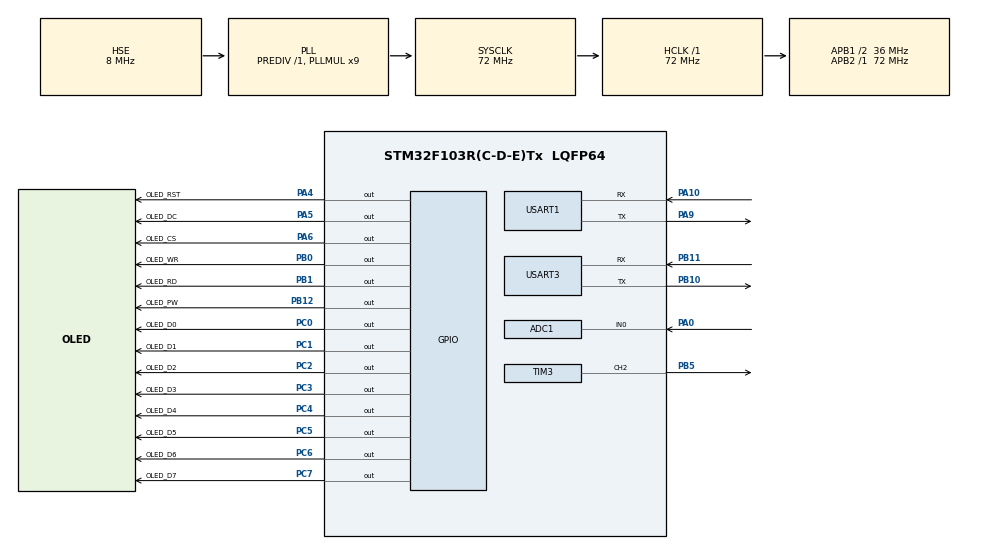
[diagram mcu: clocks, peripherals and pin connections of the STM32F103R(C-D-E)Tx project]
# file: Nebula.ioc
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ADC1.Channel-0\#ChannelRegularConversion=ADC_CHANNEL_0
ADC1.NbrOfConversionFlag=1
ADC1.Rank-0\#ChannelRegularConversion=1
ADC1.SamplingTime-0\#ChannelRegularConversion=ADC_SAMPLETIME_1CYCLE_5
ADC1.master=1
Dma.Request0=USART1_RX
Dma.Request1=USART1_TX
Dma.Request2=USART3_RX
Dma.USART1_RX.0.Direction=DMA_PERIPH_TO_MEMORY
Dma.USART1_RX.0.Instance=DMA1_Channel5
Dma.USART1_RX.0.MemDataAlignment=DMA_MDATAALIGN_BYTE
Dma.USART1_RX.0.MemInc=DMA_MINC_ENABLE
Dma.USART1_RX.0.Mode=DMA_NORMAL
Dma.USART1_RX.0.PeriphDataAlignment=DMA_PDATAALIGN_BYTE
Dma.USART1_RX.0.PeriphInc=DMA_PINC_DISABLE
Dma.USART1_RX.0.Priority=DMA_PRIORITY_HIGH
Dma.USART1_TX.1.Direction=DMA_MEMORY_TO_PERIPH
Dma.USART1_TX.1.Instance=DMA1_Channel4
Dma.USART1_TX.1.MemDataAlignment=DMA_MDATAALIGN_BYTE
Dma.USART1_TX.1.MemInc=DMA_MINC_ENABLE
Dma.USART1_TX.1.Mode=DMA_NORMAL
Dma.USART1_TX.1.PeriphDataAlignment=DMA_PDATAALIGN_BYTE
Dma.USART1_TX.1.PeriphInc=DMA_PINC_DISABLE
Dma.USART1_TX.1.Priority=DMA_PRIORITY_LOW
Dma.USART3_RX.2.Direction=DMA_PERIPH_TO_MEMORY
Dma.USART3_RX.2.Instance=DMA1_Channel3
Dma.USART3_RX.2.MemDataAlignment=DMA_MDATAALIGN_BYTE
Dma.USART3_RX.2.MemInc=DMA_MINC_ENABLE
Dma.USART3_RX.2.Mode=DMA_NORMAL
Dma.USART3_RX.2.PeriphDataAlignment=DMA_PDATAALIGN_BYTE
Dma.USART3_RX.2.PeriphInc=DMA_PINC_DISABLE
Dma.USART3_RX.2.Priority=DMA_PRIORITY_LOW
Mcu.Family=STM32F1
Mcu.Name=STM32F103R(C-D-E)Tx
Mcu.Package=LQFP64
NVIC.DMA1_Channel3_IRQn=true\:0\:0\:false\:false\:true\:false\:true
NVIC.DMA1_Channel4_IRQn=true\:0\:0\:false\:false\:true\:false\:true
NVIC.DMA1_Channel5_IRQn=true\:0\:0\:false\:false\:true\:false\:true
NVIC.PriorityGroup=NVIC_PRIORITYGROUP_4
NVIC.TIM6_IRQn=true\:0\:0\:false\:false\:true\:true\:true
NVIC.TIM7_IRQn=true\:0\:0\:false\:false\:true\:true\:true
NVIC.TIM8_UP_IRQn=true\:0\:0\:false\:false\:true\:true\:true
NVIC.USART1_IRQn=true\:0\:0\:false\:false\:true\:true\:true
PA0-WKUP.Signal=ADCx_IN0
PA10.Mode=Asynchronous
PA10.Signal=USART1_RX
PA13.Mode=Serial_Wire
PA13.Signal=SYS_JTMS-SWDIO
PA14.Mode=Serial_Wire
PA14.Signal=SYS_JTCK-SWCLK
PA4.GPIO_Label=OLED_RST
PA4.GPIO_ModeDefaultOutputPP=GPIO_MODE_OUTPUT_PP
PA4.GPIO_PuPd=GPIO_PULLUP
PA4.GPIO_Speed=GPIO_SPEED_FREQ_HIGH
PA4.PinState=GPIO_PIN_SET
PA4.Signal=GPIO_Output
PA5.GPIO_Label=OLED_DC
PA5.GPIO_ModeDefaultOutputPP=GPIO_MODE_OUTPUT_PP
PA5.GPIO_PuPd=GPIO_PULLUP
PA5.GPIO_Speed=GPIO_SPEED_FREQ_HIGH
PA5.PinState=GPIO_PIN_SET
PA5.Signal=GPIO_Output
PA6.GPIO_Label=OLED_CS
PA6.GPIO_ModeDefaultOutputPP=GPIO_MODE_OUTPUT_PP
PA6.GPIO_PuPd=GPIO_PULLUP
PA6.GPIO_Speed=GPIO_SPEED_FREQ_HIGH
PA6.PinState=GPIO_PIN_SET
PA6.Signal=GPIO_Output
PA9.Mode=Asynchronous
PA9.Signal=USART1_TX
PB0.GPIO_Label=OLED_WR
PB0.GPIO_ModeDefaultOutputPP=GPIO_MODE_OUTPUT_PP
PB0.GPIO_PuPd=GPIO_PULLUP
PB0.GPIO_Speed=GPIO_SPEED_FREQ_MEDIUM
PB0.PinState=GPIO_PIN_SET
PB0.Signal=GPIO_Output
PB1.GPIO_Label=OLED_RD
PB1.GPIO_ModeDefaultOutputPP=GPIO_MODE_OUTPUT_PP
PB1.GPIO_PuPd=GPIO_PULLUP
PB1.GPIO_Speed=GPIO_SPEED_FREQ_MEDIUM
PB1.PinState=GPIO_PIN_SET
PB1.Signal=GPIO_Output
PB10.Mode=Asynchronous
PB10.Signal=USART3_TX
PB11.Mode=Asynchronous
PB11.Signal=USART3_RX
PB12.GPIO_Label=OLED_PW
PB12.GPIO_PuPd=GPIO_PULLUP
PB12.GPIO_Speed=GPIO_SPEED_FREQ_LOW
PB12.PinState=GPIO_PIN_SET
PB12.Signal=GPIO_Output
PB5.GPIO_Speed=GPIO_SPEED_FREQ_HIGH
PB5.Signal=S_TIM3_CH2
PC0.GPIO_Label=OLED_D0
PC0.GPIO_ModeDefaultOutputPP=GPIO_MODE_OUTPUT_PP
PC0.GPIO_PuPd=GPIO_PULLUP
PC0.GPIO_Speed=GPIO_SPEED_FREQ_HIGH
PC0.PinState=GPIO_PIN_SET
PC0.Signal=GPIO_Output
PC1.GPIO_Label=OLED_D1
PC1.GPIO_ModeDefaultOutputPP=GPIO_MODE_OUTPUT_PP
PC1.GPIO_PuPd=GPIO_PULLUP
PC1.GPIO_Speed=GPIO_SPEED_FREQ_HIGH
PC1.PinState=GPIO_PIN_SET
PC1.Signal=GPIO_Output
PC2.GPIO_Label=OLED_D2
PC2.GPIO_ModeDefaultOutputPP=GPIO_MODE_OUTPUT_PP
PC2.GPIO_PuPd=GPIO_PULLUP
PC2.GPIO_Speed=GPIO_SPEED_FREQ_HIGH
PC2.PinState=GPIO_PIN_SET
PC2.Signal=GPIO_Output
PC3.GPIO_Label=OLED_D3
PC3.GPIO_ModeDefaultOutputPP=GPIO_MODE_OUTPUT_PP
PC3.GPIO_PuPd=GPIO_PULLUP
PC3.GPIO_Speed=GPIO_SPEED_FREQ_HIGH
PC3.PinState=GPIO_PIN_SET
PC3.Signal=GPIO_Output
PC4.GPIO_Label=OLED_D4
PC4.GPIO_PuPd=GPIO_PULLUP
PC4.GPIO_Speed=GPIO_SPEED_FREQ_HIGH
PC4.PinState=GPIO_PIN_SET
PC4.Signal=GPIO_Output
PC5.GPIO_Label=OLED_D5
PC5.GPIO_ModeDefaultOutputPP=GPIO_MODE_OUTPUT_PP
PC5.GPIO_PuPd=GPIO_PULLUP
PC5.GPIO_Speed=GPIO_SPEED_FREQ_HIGH
PC5.PinState=GPIO_PIN_SET
PC5.Signal=GPIO_Output
PC6.GPIO_Label=OLED_D6
PC6.GPIO_ModeDefaultOutputPP=GPIO_MODE_OUTPUT_PP
PC6.GPIO_PuPd=GPIO_PULLUP
PC6.GPIO_Speed=GPIO_SPEED_FREQ_HIGH
PC6.PinState=GPIO_PIN_SET
PC6.Signal=GPIO_Output
PC7.GPIO_Label=OLED_D7
PC7.GPIO_ModeDefaultOutputPP=GPIO_MODE_OUTPUT_PP
PC7.GPIO_PuPd=GPIO_PULLUP
PC7.GPIO_Speed=GPIO_SPEED_FREQ_HIGH
PC7.PinState=GPIO_PIN_SET
PC7.Signal=GPIO_Output
PD0-OSC_IN.Mode=HSE-External-Oscillator
PD0-OSC_IN.Signal=RCC_OSC_IN
PD1-OSC_OUT.Mode=HSE-External-Oscillator
PD1-OSC_OUT.Signal=RCC_OSC_OUT
ProjectManager.HeapSize=0x200
ProjectManager.StackSize=0x400
ProjectManager.TargetToolchain=MDK-ARM V5
RCC.ADCPresc=RCC_ADCPCLK2_DIV6
RCC.AHBFreq_Value=72000000
RCC.APB1CLKDivider=RCC_HCLK_DIV2
RCC.APB1Freq_Value=36000000
RCC.APB1TimFreq_Value=72000000
RCC.APB2Freq_Value=72000000
RCC.APB2TimFreq_Value=72000000
RCC.HCLKFreq_Value=72000000
RCC.PLLMUL=RCC_PLL_MUL9
RCC.PLLSourceVirtual=RCC_PLLSOURCE_HSE
RCC.SYSCLKFreq_VALUE=72000000
RCC.SYSCLKSource=RCC_SYSCLKSOURCE_PLLCLK
RCC.USBFreq_Value=72000000
SH.ADCx_IN0.0=ADC1_IN0,IN0
SH.S_TIM3_CH2.0=TIM3_CH2,PWM Generation2 CH2
TIM3.AutoReloadPreload=TIM_AUTORELOAD_PRELOAD_ENABLE
TIM3.Channel-PWM\ Generation2\ CH2=TIM_CHANNEL_2
TIM3.Period=4082-1
TIM3.Prescaler=36-1
TIM3.Pulse-PWM\ Generation2\ CH2=0
TIM6.Period=999
TIM6.Prescaler=7199
TIM7.AutoReloadPreload=TIM_AUTORELOAD_PRELOAD_ENABLE
TIM7.Period=4999
TIM7.Prescaler=7199
TIM8.AutoReloadPreload=TIM_AUTORELOAD_PRELOAD_ENABLE
TIM8.Period=199
TIM8.Prescaler=7199
USART1.VirtualMode=VM_ASYNC
USART3.VirtualMode=VM_ASYNC
VP_TIM3_VS_ClockSourceINT.Mode=Internal
VP_TIM6_VS_ClockSourceINT.Mode=Enable_Timer
VP_TIM7_VS_ClockSourceINT.Mode=Enable_Timer
VP_TIM8_VS_ClockSourceINT.Mode=Internal
board=custom

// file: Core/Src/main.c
/* USER CODE BEGIN Header */
/**
  ******************************************************************************
  * @file           : main.c
  * @brief          : Main program body
  ******************************************************************************
  * @attention
  *
  * <h2><center>&copy; Copyright (c) 2019 STMicroelectronics.
  * All rights reserved.</center></h2>
  *
  * This software component is licensed by ST under BSD 3-Clause license,
  * the "License"; You may not use this file except in compliance with the
  * License. You may obtain a copy of the License at:
  *                        opensource.org/licenses/BSD-3-Clause
  *
  ******************************************************************************
  */
/* USER CODE END Header */

#include "main.h"
#include "adc.h"
#include "dma.h"
#include "tim.h"
#include "usart.h"
#include "gpio.h"

/* USER CODE BEGIN Includes */
#include "OLED_Animation.h"
#include "OLED_Driver.h"
#include "OLED_GFX.h"
#include "OLED_FFT.h"
#include "sys.h"
#include "sk6812.h"
#include "motion.h"
#include "stmflash.h"
#include "string.h"
#include "math.h"
#include "stdio.h"
/* USER CODE END Includes */

/* USER CODE BEGIN PTD */

uint8_t Flag_Refrash = False;
uint8_t Flag_Blink = False;
uint8_t Flag_Sleep = False;
uint8_t Flag_Continue = False;
uint8_t Flag_Reception = True;
uint8_t OfflineCount = 6;
uint8_t SystemActive = True;
u8 datatemp[256] = {};
u16 RandomX=30,RandomY=30;

#define Radius 60
#define RadiusC 56
#define RadiusB 53
#define HourRadius 30
#define MinRadius 40
#define SecRadius 50
u16 ColorPointer[3];
/* USER CODE END PTD */

/* USER CODE BEGIN PD */

#define SLEEPTIME    20*60

OLED_GFX oled = OLED_GFX();
OLED_FFT fft = OLED_FFT();
OLED_Animation motion = OLED_Animation();
/* USER CODE END PD */

void SystemClock_Config(void);

/* USER CODE BEGIN 0 */

u16 Display_Mode = MODE_OFFLINE;
u16 Current_Mode = MODE_OFFLINE;
u16 Sleep_Mode;

#define BOOTBMP Logo_asus

int Count=0;
int FPS=0;

u8 Dataleng;
char DataDis[20];
char DataDisf[3];

u8 DataDisType=0;
u8 UnitDisType=0;
u8 HWDisType=0;
u8 Show_Float=False;

void CopyString(char *ch1,char *ch2)
{
	int i;
	for(i=0;i<cont_str(ch2);i++)
		ch1[i]=ch2[i];
}

void NORMAL_Mode_In(void)
{
	SetCurrent(POSNBAR,148) ;
	SetCurrent(POSNBAT,170) ;
	SetTarget(POSNRCT,25);
	SetTarget(POSNTOP,0);
	SetTarget(POSNBAR,103);
	SetTarget(POSNBAT,115);
	SetTarget(DAMPTYP,0);
}

void NORMAL_Mode_Out(void)
{
	SetTarget(POSNRCT,-73) ;
	SetTarget(POSNTOP,60) ;
	SetTarget(POSNBAR,148) ;
	SetTarget(POSNBAT,170) ;
	SetTarget(DAMPTYP,0);
	DampCustormPos(POSNBAT,0.1);
}

void TIME_Mode_In(void)
{
	SetCurrent(RDRadius, Radius*2);
	SetCurrent(RDRadiusC, RadiusC*2);
	SetCurrent(RDRadiusB, RadiusB*2);
	SetTarget(RDRadius, Radius);
	SetTarget(RDRadiusC, RadiusC);
	SetTarget(RDRadiusB, RadiusB);
	SetTarget(RDHourRadius, HourRadius);
	SetTarget(RDMinRadius, MinRadius);
	SetTarget(RDSecRadius, SecRadius);
	SetTarget(RDRuleDelaut, 0);
	if(Device_Msg.uarthour%12<6)
	{
		SetTarget(PNTTIME,22);
	}
	else
	{
		SetTarget(PNTTIME,22+60);
		if(pit[PNTTIME].target!=22+60)
			SetCurrent(PNTTIME,128+50);
	}
}

void TIME_Mode_Out(void)
{
	SetTarget(RDRadius, Radius*2);
	SetTarget(RDRadiusC, RadiusC*2);
	SetTarget(RDRadiusB, RadiusB*2);
	SetTarget(RDRuleDelaut, 180);
	if(Display_Mode != MODE_GAME)
	{
		SetTarget(RDHourRadius, 0);
		SetTarget(RDMinRadius, 0);
		SetTarget(RDSecRadius, 0);
		SetTarget(PNTHOUR,-90);
		SetTarget(PNTMIN,-90);
		SetTarget(PNTSEC,-90);
		if(pit[PNTTIME].current<60)
		{
			SetTarget(PNTTIME,-50);
		}
		else
		{
			SetTarget(PNTTIME,128+50);
		}
	}
	DampCustormPos(RDRadius,0.1);
}

void TIMESQ_Mode_In(void)
{
	SetCurrent(RDRadiusA, Radius);
	SetTarget(RDRadiusA, Radius/2);
	SetTarget(RDHourRadius, HourRadius);
	SetTarget(RDMinRadius, MinRadius);
	SetTarget(RDSecRadius, SecRadius);
	if(Device_Msg.uarthour%12<6)
	{
		SetTarget(PNTTIME,22);
	}
	else
	{
		SetTarget(PNTTIME,22+60);
		if(pit[PNTTIME].target!=22+60)
			SetCurrent(PNTTIME,128+50);
	}
}

void TIMESQ_Mode_Out(void)
{
	SetTarget(RDRadiusA, Radius);
	if(Display_Mode != MODE_DATE)
	{
		SetTarget(RDHourRadius, 0);
		SetTarget(RDMinRadius, 0);
		SetTarget(RDSecRadius, 0);
		SetTarget(PNTHOUR,-90);
		SetTarget(PNTMIN,-90);
		SetTarget(PNTSEC,-90);
		if(pit[PNTTIME].current<60)
		{
			SetTarget(PNTTIME,-50);
		}
		else
		{
			SetTarget(PNTTIME,128+50);
		}
	}
	DampCustormPos(RDRadiusA,0.1);
}

void MUSIC_Mode_In(void)
{
	int i;
	for(i=0;i<sizeof(fall_pot);i++)
	{
		fall_pot[i] = 128;
		flow_pot[i] = 128;
	}
	ClearFFT();
}

void MUSIC_Mode_Out(void)
{
//	int i;
//	for(i=0;i<sizeof(fall_pot);i++)
//	{
//		fall_pot[i] = 128;
//		flow_pot[i] = 128;
//	}
	ClearFFT();
}

void NORMAL_Mode_Run(void)
{
	switch(DataDisType)
	{
		case 3:
			if(Device_Msg.cpufan>0)
			{

				SetCurrent(POSNRCD,0+8) ;
				SetTarget(POSNRCD,0+8);
				SetTarget(CRTVANE,Device_Msg.cpufan);
				HWDisType = CU_CPU;
				Show_Float = False;
				sprintf(DataDis,"%04d",(u16)pit[CRTVANE].target);
				UnitDisType=UT_RPM;
				pit[CRTVADS].target = pit[CRTVANE].target/50/80*118;

			}
			else
			{
				DataDisType++;return;
//				sprintf(DataDis,"----");
//				UnitDisType=UT_RPM;
//				pit[CRTVANE].target = 0;
			}
			break;
		case 0:
			if(Device_Msg.cputemp>0)
			{
				SetTarget(POSNRCD,11+8)  ;
				pit[CRTVANE].target = Device_Msg.cputemp/10;
				HWDisType = CU_CPU;
				Show_Float = True;
				sprintf(DataDis,"%02d",(u16)pit[CRTVANE].target);
				sprintf(DataDisf,"%01d",Device_Msg.cputemp%10);
				UnitDisType=UT_DEG;

				if(pit[CRTVANE].target<=80)
					pit[CRTVADS].target = pit[CRTVANE].target/80*118;
				else
					pit[CRTVADS].target = 117;

			}
			else
			{
				DataDisType++;return;
			}
			break;
		case 1:
			if(Device_Msg.cpuclock>0)
			{
				SetCurrent(POSNRCD,0+8) ;
				SetTarget(POSNRCD,0+8)  ;
				pit[CRTVANE].target = Device_Msg.cpuclock;
				HWDisType = CU_CPU;
				Show_Float = False;
				sprintf(DataDis,"%04d",(u16)pit[CRTVANE].target);
				UnitDisType=UT_MHZ;
				pit[CRTVADS].target = pit[CRTVANE].target/50/80*118;

			}
			else
			{
				DataDisType++;return;
//				sprintf(DataDis,"----");
//				UnitDisType=UT_MHZ;
//				pit[CRTVANE].target = 0;
			}
			break;
		case 2:
			SetTarget(POSNRCD,11+8)  ;
			pit[CRTVANE].target = Device_Msg.cpuload/10;
			HWDisType = CU_CPU;
			Show_Float = True;
//			if(Device_Msg.cpuload>0)
			{
				sprintf(DataDis,"%02d",(u16)pit[CRTVANE].target);
				sprintf(DataDisf,"%01d",Device_Msg.cpuload%10);
				UnitDisType=UT_PREC;
				if(pit[CRTVANE].target<=80)
					pit[CRTVADS].target = pit[CRTVANE].target/80*118;
				else
					pit[CRTVADS].target = 117;

			}break;
		case 7:
			if(Device_Msg.gpufan>0)
			{
				SetCurrent(POSNRCD,0+8) ;
				SetTarget(POSNRCD,0+8) ;
				pit[CRTVANE].target = Device_Msg.gpufan;
				HWDisType = CU_GPU;
				Show_Float = False;
				sprintf(DataDis,"%04d",(u16)pit[CRTVANE].target);
				UnitDisType=UT_RPM;
				pit[CRTVADS].target = pit[CRTVANE].target/50/80*118;

			}
			else
			{
				DataDisType++;return;
//				sprintf(DataDis,"----");
//				UnitDisType=UT_RPM;
//				pit[CRTVANE].target = 0;
			}
			break;
		case 4:
			if(Device_Msg.gputemp>0)
			{
				SetTarget(POSNRCD,11+8) ;
				pit[CRTVANE].target = Device_Msg.gputemp/10;
				HWDisType = CU_GPU;
				Show_Float = True;
				sprintf(DataDis,"%02d",(u16)pit[CRTVANE].target);
				sprintf(DataDisf,"%01d",Device_Msg.gputemp%10);
				UnitDisType=UT_DEG;
				pit[CRTVADS].target = pit[CRTVANE].target/80*118;

			}
			else
			{
				DataDisType++;return;
			}
			break;
		case 5:
			if(Device_Msg.gpuclock>0)
			{
				SetCurrent(POSNRCD,0+8) ;
				SetTarget(POSNRCD,0+8) ;
				pit[CRTVANE].target = Device_Msg.gpuclock;
				HWDisType = CU_GPU;
				Show_Float = False;
				sprintf(DataDis,"%04d",(u16)pit[CRTVANE].target);
				UnitDisType=UT_MHZ;
				pit[CRTVADS].target = pit[CRTVANE].target/50/80*118;

			}
			else
			{
				DataDisType++;return;
//				sprintf(DataDis,"----");
//				UnitDisType=UT_MHZ;
//				pit[CRTVANE].target = 0;
			}
			break;
		case 6:
			SetTarget(POSNRCD,11+8);
			pit[CRTVANE].target = Device_Msg.gpuload/10;
			HWDisType = CU_GPU;
			Show_Float = True;
//			if(Device_Msg.gpuload>0)
			{
				sprintf(DataDis,"%02d",(u16)pit[CRTVANE].target);
				sprintf(DataDisf,"%01d",Device_Msg.gpuload%10);
				UnitDisType=UT_PREC;
				if(pit[CRTVANE].target<=80)
					pit[CRTVADS].target = pit[CRTVANE].target/80*118;
				else
					pit[CRTVADS].target = 117;

			}break;
		case 8:
			SetTarget(POSNRCD,11+8);
			pit[CRTVANE].target = Device_Msg.ramload/10;
			HWDisType = CU_RAM;
			Show_Float = True;
//			if(Device_Msg.gpuload>0)
			{
				sprintf(DataDis,"%02d",(u16)pit[CRTVANE].target);
				sprintf(DataDisf,"%01d",Device_Msg.ramload%10);
				UnitDisType=UT_PREC;
				if(pit[CRTVANE].target<=80)
					pit[CRTVADS].target = pit[CRTVANE].target/80*118;
				else
					pit[CRTVADS].target = 117;

			}break;
	}
}

void TIME_Mode_Run()
{
	pit[PNTHOUR].target = (Device_Msg.uarthour%12-3)*30+Device_Msg.uartminute/2;
	pit[PNTMIN].target = (Device_Msg.uartminute-15)*6+Device_Msg.uartsecond/2/5;
	pit[PNTSEC].target = (Device_Msg.uartsecond-15)*6;
	if(pit[PNTHOUR].target == -90)
		pit[PNTHOUR].target = 270;
	else if(pit[PNTHOUR].current == 270)
		pit[PNTHOUR].current = -90;
	if(pit[PNTMIN].target == -90)
		pit[PNTMIN].target = 270;
	else if(pit[PNTMIN].current == 270)
		pit[PNTMIN].current = -90;
	if(pit[PNTSEC].target == -90)
		pit[PNTSEC].target = 270;
	else if(pit[PNTSEC].current == 270)
	{
		pit[RDHourColor].target = oled.WheelPw(rand()%96);
		pit[RDMinColor].target = oled.WheelPw(rand()%96);
		pit[RDSecColor].target = oled.WheelP(rand()%96);

		pit[PNTSEC].current = -90;
	}

//	pit[PNTTIME].target = 52+(pit[RDHourRadius].current*cos((pit[PNTSEC].current+180)*PI/180));
//	pit[PNTTIMEY].target = 60+(pit[RDHourRadius].current*sin((pit[PNTSEC].current+180)*PI/180));
	if(Device_Msg.uarthour%12<6)
	{
		SetTarget(PNTTIME,22);
	}
	else
	{
		SetTarget(PNTTIME,22+60);
	}
}

void Mode_In(void)
{
	switch(Current_Mode)
	{
		case MODE_DATE:TIME_Mode_In();break;
		case MODE_NORMAL:NORMAL_Mode_In();break;
		case MODE_GAME:TIMESQ_Mode_In();break;
		case MODE_MUSIC:MUSIC_Mode_In();break;
	}
}

void Mode_Out(void)
{
	switch(Current_Mode)
	{
		case MODE_DATE:TIME_Mode_Out();break;
		case MODE_NORMAL:NORMAL_Mode_Out();break;
		case MODE_GAME:TIMESQ_Mode_Out();break;
		case MODE_MUSIC:MUSIC_Mode_Out();break;
	}
}

static u16 PulseRun = 4060 ,dir = True;
void TIMESQ_Mode();
/* USER CODE END 0 */

int main(void)
{

  /* MCU Configuration--------------------------------------------------------*/

  /* Reset of all peripherals, Initializes the Flash interface and the Systick. */
  HAL_Init();

  /* Configure the system clock */
  SystemClock_Config();

  /* Initialize all configured peripherals */
  MX_GPIO_Init();
  MX_DMA_Init();
  MX_USART1_UART_Init();
  MX_USART3_UART_Init();
  MX_TIM6_Init();
  MX_TIM7_Init();
  MX_TIM8_Init();
  MX_ADC1_Init();
  MX_TIM3_Init();
  /* USER CODE BEGIN 2 */
	__HAL_UART_ENABLE_IT(&huart1, UART_IT_IDLE);
  HAL_UART_Receive_DMA(&huart1,Uart_Recv1_Buf,Uart_Max_Length);
	HAL_TIM_Base_Start_IT(&htim6);
	HAL_TIM_Base_Start_IT(&htim7);
	HAL_TIM_Base_Start_IT(&htim8);
	HAL_TIM_PWM_Start(&htim3, TIM_CHANNEL_2);
  oled.Device_Init();
	SK6812_Init();
	InitData();
	motion.OLED_AllMotion_Init();
	Recvcmd();
//	if(Display_Mode!=MODE_OFFLINE)
	{
		UsartCommand(0xA001,3);//获取命令
		UsartCommand(0xA002,3);//获取设备名
		UsartCommand(0xA003,3);//获取硬盘信息
	}
//	HAL_GPIO_TogglePin(GPIOB, SYS_LED_Pin);
//	HAL_Delay(100);
//	HAL_GPIO_TogglePin(GPIOB, SYS_LED_Pin);
//	HAL_Delay(100);
//	HAL_GPIO_TogglePin(GPIOB, SYS_LED_Pin);
//	HAL_Delay(500);
//
	if(Display_Mode!=MODE_OFFLINE)
	{
		UsartPrint("Nubla is online\n");
		UsartCommand(0xA001,3);//获取命令
		OFFLINE_Mode();
	}
	else
	{
		printf("Nubla is online\r\n");
	}
	SetTarget(RDHourColor, oled.WheelPw(rand()%96));
	SetTarget(RDMinColor, oled.WheelPw(rand()%96));
	SetTarget(RDSecColor, oled.WheelP(rand()%96));

//
//	Display_Mode = MODE_DATE;
//	Current_Mode = MODE_DATE;
  /* USER CODE END 2 */

  /* Infinite loop */
  while (1)
  {

    /* USER CODE BEGIN 3 */
		switch(Current_Mode)
		{
			case MODE_DEFALUT:NORMAL_Mode();break;
			case MODE_DATE:TIME_Mode();break;
			case MODE_NORMAL:NORMAL_Mode();break;
			case MODE_GAME:OFFLINE_Mode();break;
			case MODE_OFFLINE:OFFLINE_Mode();break;
//			case MODE_OFFLINE:SLEEP_Mode();break;
			case MODE_MUSIC:MUSIC_Mode();break;
			default:Current_Mode = Display_Mode;break;
		}

  }
  /* USER CODE END 3 */
}

void SystemClock_Config(void)
{
  RCC_OscInitTypeDef RCC_OscInitStruct = {0};
  RCC_ClkInitTypeDef RCC_ClkInitStruct = {0};
  RCC_PeriphCLKInitTypeDef PeriphClkInit = {0};

  /** Initializes the CPU, AHB and APB busses clocks
  */
  RCC_OscInitStruct.OscillatorType = RCC_OSCILLATORTYPE_HSE;
  RCC_OscInitStruct.HSEState = RCC_HSE_ON;
  RCC_OscInitStruct.HSEPredivValue = RCC_HSE_PREDIV_DIV1;
  RCC_OscInitStruct.HSIState = RCC_HSI_ON;
  RCC_OscInitStruct.PLL.PLLState = RCC_PLL_ON;
  RCC_OscInitStruct.PLL.PLLSource = RCC_PLLSOURCE_HSE;
  RCC_OscInitStruct.PLL.PLLMUL = RCC_PLL_MUL9;
  if (HAL_RCC_OscConfig(&RCC_OscInitStruct) != HAL_OK)
  {
    Error_Handler();
  }
  /** Initializes the CPU, AHB and APB busses clocks
  */
  RCC_ClkInitStruct.ClockType = RCC_CLOCKTYPE_HCLK|RCC_CLOCKTYPE_SYSCLK
                              |RCC_CLOCKTYPE_PCLK1|RCC_CLOCKTYPE_PCLK2;
  RCC_ClkInitStruct.SYSCLKSource = RCC_SYSCLKSOURCE_PLLCLK;
  RCC_ClkInitStruct.AHBCLKDivider = RCC_SYSCLK_DIV1;
  RCC_ClkInitStruct.APB1CLKDivider = RCC_HCLK_DIV2;
  RCC_ClkInitStruct.APB2CLKDivider = RCC_HCLK_DIV1;

  if (HAL_RCC_ClockConfig(&RCC_ClkInitStruct, FLASH_LATENCY_2) != HAL_OK)
  {
    Error_Handler();
  }
  PeriphClkInit.PeriphClockSelection = RCC_PERIPHCLK_ADC;
  PeriphClkInit.AdcClockSelection = RCC_ADCPCLK2_DIV6;
  if (HAL_RCCEx_PeriphCLKConfig(&PeriphClkInit) != HAL_OK)
  {
    Error_Handler();
  }
}

/* USER CODE BEGIN 4 */

void OFFLINEUI_Init(void)
{
	switch(Device_Cmd.commandlogotheme)
	{
		case 0:oled.Display_FadeinAll(Logo_asus);break;
		case 1:oled.Display_FadeinAll(Logo_msi);break;
		case 2:oled.Display_FadeinAll(Logo_amd);break;
		case 3:oled.Display_FadeinAll(Logo_radeon);break;
		case 4:oled.Display_FadeinAll(Logo_nvidia);break;
		case 5:oled.Display_FadeinAll(Logo_custorm);break;
		default:oled.Display_FadeinAll(Logo_msi);break;
	}
}

void OFFLINEUI_Out(void)
{
	oled.Display_FadeoutAll();
}

void OFFLINE_Mode(void)
{
	OFFLINEUI_Init();
	if(!(Device_Cmd.commandset&0x8)&&OfflineCount>6)
	{
		oled.Clear_Screen();
	}
	while(Display_Mode == MODE_OFFLINE||Display_Mode == MODE_DEFALUT)
	{
		if(Flag_Refrash)
		{
			Flag_Refrash = False;
			if(Flag_Sleep)
			{
				Flag_Sleep = False;
				SLEEP_Mode();
			}
			if(Device_Cmd.commandset&0x8)
				switch(Device_Cmd.commandlogotheme)
				{
					case 0:oled.Display_bmp(Logo_asus);break;
					case 1:oled.Display_bmp(Logo_msi);break;
					case 2:oled.Display_bmp(Logo_amd);break;
					case 3:oled.Display_bmp(Logo_radeon);break;
					case 4:oled.Display_bmp(Logo_nvidia);break;
					case 5:oled.Display_bmp(Logo_custorm);break;
					default:oled.Display_bmp(Logo_msi);break;
				}
			else
			{
				oled.Clear_Screen();
				motion.OLED_AllMotion(Device_Cmd.commandmotion,Device_Cmd.commandspeed);
			}
			oled.Refrash_Screen();
		}
		HAL_Delay(1);
	}
	Current_Mode = Display_Mode;
	Mode_In();
	if(Display_Mode != MODE_GAME)
	{
		UsartCommand(0xA001,3);//获取命令
		UsartCommand(0xA002,3);//获取设备名
		UsartCommand(0xA003,3);//获取硬盘信息
		UsartPrint("Nubla is online\n");
	}
	oled.Display_FadeoutAll();
}

void NORMAL_Display(void)
{
	if(Device_Cmd.commandtoptheme<=6)
		oled.Display_bmp(pit[POSNTOP].current,pit[POSNRCT].current-25,128,25,Corn_Top[Device_Cmd.commandtoptheme]);
	else
		oled.Display_bmp(pit[POSNTOP].current,pit[POSNRCT].current-25,128,25,Corn_Top[5]);

	oled.Display_bbmp(0,pit[POSNRCT].current,128,73,BMP_DataBackGround);
	oled.Display_bbmp(89,pit[POSNRCT].current+69,35,5,Corn_BarUnit[UnitDisType],color_half);
	oled.OLED_SF22x40(pit[POSNRCD].current,11+pit[POSNRCT].current,DataDis);
	if(pit[DAMPTYP].match)
		oled.Display_bbmp(10,pit[POSNRCT].current+62,23,7,Corn_DataType[HWDisType],color_half);
	else
		oled.Display_bbmp(10,pit[POSNRCT].current+62,23,7,Corn_DataType[HWDisType]);
	oled.Display_bbmp(98,11+pit[POSNRCT].current,24,24,Corn_Unit[UnitDisType],color_half);
	if((Show_Float)&&pit[CRTVANE].target < 100)
	{
		oled.OLED_SF12x24(pit[POSNRCD].current+52,pit[POSNRCT].current+27,DataDisf,color_half);
		oled.Fill_Rect(pit[POSNRCD].current+46,pit[POSNRCT].current+45,2,4,color_half);
	}
	oled.Display_bbmp(0,pit[POSNBAT].current,128,5,Corn_Rule);
	oled.Display_bbmp(0,pit[POSNBAT].current+5,128,5,Corn_RuleIndex,color_half);
	oled.Fill_Rect(3+2,pit[POSNBAR].current+2,pit[CRTVADS].current,6,color_half);
	oled.Draw_Rect(3,pit[POSNBAR].current,121,10);
}

void NORMAL_Mode(void)
{
	if(Flag_Refrash)
	{
		Flag_Refrash = False;
		if(Flag_Sleep)
		{
			Flag_Sleep = False;
			SLEEP_Mode();
		}

		DampAutoPos();
		if(Display_Mode == Current_Mode)
		{
			NORMAL_Mode_Run();
		}
		else
		{
			Mode_Out();

			if(pit[POSNBAT].match)
			{
				Current_Mode = Display_Mode;
				Mode_In();
			}
		}
		oled.Clear_Screen();
		motion.OLED_AllMotion(Device_Cmd.commandmotion,Device_Cmd.commandspeed);
		NORMAL_Display();
		oled.Refrash_Screen();
	}
	HAL_Delay(1);
}

void TIME_Display()
{
	int i;
	for(i=0;i<60;i++)
	{
		if(i%5==0)
			oled.Draw_Line((OCX+(pit[RDRadius].current*cos((i*6+pit[RDRuleDelaut].current)*PI/180))),(OCY+(pit[RDRadius].current*sin((i*6+pit[RDRuleDelaut].current)*PI/180))),(OCX+(pit[RDRadiusB].current*cos((i*6+pit[RDRuleDelaut].current)*PI/180))),(OCY+(pit[RDRadiusB].current*sin((i*6+pit[RDRuleDelaut].current)*PI/180))),color_half);
		else
			oled.Draw_Line((OCX+(pit[RDRadius].current*cos((i*6+pit[RDRuleDelaut].current)*PI/180))),(OCY+(pit[RDRadius].current*sin((i*6+pit[RDRuleDelaut].current)*PI/180))),(OCX+(pit[RDRadiusC].current*cos((i*6+pit[RDRuleDelaut].current)*PI/180))),(OCY+(pit[RDRadiusC].current*sin((i*6+pit[RDRuleDelaut].current)*PI/180))),color_min);
	}
	oled.Draw_Circle(OCX,OCY,pit[RDRadius].current+2,color_half);
	oled.Draw_Circle(OCX,OCY,pit[RDRadius].current);

	oled.OLED_SNF6x8(pit[PNTTIME].current,60,Device_Str.vtime);

	oled.Draw_Line((OCX+(pit[RDHourRadius].current*cos(pit[PNTHOUR].current*PI/180))),(OCY+(pit[RDHourRadius].current*sin(pit[PNTHOUR].current*PI/180))),OCX,OCY,2,pit[RDHourColor].target);
	oled.Draw_Line((OCX+(pit[RDMinRadius].current*cos(pit[PNTMIN].current*PI/180))),(OCY+(pit[RDMinRadius].current*sin(pit[PNTMIN].current*PI/180))),OCX,OCY,pit[RDMinColor].target);
	oled.Draw_Line((OCX+(pit[RDSecRadius].current*cos(pit[PNTSEC].current*PI/180))),(OCY+(pit[RDSecRadius].current*sin(pit[PNTSEC].current*PI/180))),OCX,OCY,pit[RDSecColor].target);

	oled.Fill_Circle(OCX,OCY,3,0);
	oled.Draw_Circle(OCX,OCY,1);
	oled.Draw_Circle(OCX,OCY,3,color_half);
}

void TIME_Mode(void)
{
	if(Flag_Refrash)
	{
		Flag_Refrash = False;
		if(Flag_Sleep)
		{
			Flag_Sleep = False;
			SLEEP_Mode();
		}

		DampAutoPos();
		if(Display_Mode == Current_Mode)
		{
			TIME_Mode_Run();
		}
		else
		{
			Mode_Out();
			if(pit[RDRadius].match)
			{
				Current_Mode = Display_Mode;
				Mode_In();
			}
		}
		oled.Clear_Screen();
		motion.OLED_AllMotion(Device_Cmd.commandmotion,Device_Cmd.commandspeed);
		TIME_Display();
		oled.Refrash_Screen();
	}
	HAL_Delay(1);
}

#define RLV Radius/2

void TIMESQ_Display(void)
{
	oled.Draw_Circle(OCX+RLV,OCY+RLV,pit[RDRadiusA].current,1,color_now);
	oled.Draw_Circle(OCX+RLV,OCY+RLV,pit[RDRadiusA].current+2,1,color_half); //右下

	oled.Draw_Circle(OCX-RLV,OCY+RLV,pit[RDRadiusA].current,2,color_now);
	oled.Draw_Circle(OCX-RLV,OCY+RLV,(pit[RDRadiusA].current+2),2,color_half);	//左下

	oled.Draw_Circle(OCX-RLV,OCY-RLV,pit[RDRadiusA].current,4,color_now);
	oled.Draw_Circle(OCX-RLV,OCY-RLV,(pit[RDRadiusA].current+2),4,color_half); //左上

	oled.Draw_Circle(OCX+RLV,OCY-RLV,pit[RDRadiusA].current,3,color_now);
	oled.Draw_Circle(OCX+RLV,OCY-RLV,(pit[RDRadiusA].current+2),3,color_half); //右上

	oled.Draw_Line(OCX+RLV+pit[RDRadiusA].current,OCY+RLV,OCX+RLV+pit[RDRadiusA].current,OCY-RLV,color_now);//右侧引导线
	oled.Draw_Line(OCX+RLV+(pit[RDRadiusA].current+2),OCY+RLV,OCX+RLV+(pit[RDRadiusA].current+2),OCY-RLV,color_half);//右侧引导线

	oled.Draw_Line(OCX-RLV-pit[RDRadiusA].current,OCY+RLV,OCX-RLV-pit[RDRadiusA].current,OCY-RLV,color_now);//左侧引导线
	oled.Draw_Line(OCX-RLV-(pit[RDRadiusA].current+2),OCY+RLV,OCX-RLV-(pit[RDRadiusA].current+2),OCY-RLV,color_half);//左侧引导线

	oled.OLED_SNF6x8(pit[PNTTIME].current,60,Device_Str.vtime);
	oled.Draw_Line(pit[PNTTIME].current-1,60+9,pit[PNTTIME].current+30,60+9,color_half);

	oled.Draw_Line((OCX+(pit[RDHourRadius].current*cos(pit[PNTHOUR].current*PI/180))),(OCY+(pit[RDHourRadius].current*sin(pit[PNTHOUR].current*PI/180))),OCX,OCY,2,pit[RDHourColor].target);
	oled.Draw_Line((OCX+(pit[RDMinRadius].current*cos(pit[PNTMIN].current*PI/180))),(OCY+(pit[RDMinRadius].current*sin(pit[PNTMIN].current*PI/180))),OCX,OCY,pit[RDMinColor].target);
	oled.Draw_Line((OCX+(pit[RDSecRadius].current*cos(pit[PNTSEC].current*PI/180))),(OCY+(pit[RDSecRadius].current*sin(pit[PNTSEC].current*PI/180))),OCX,OCY,pit[RDSecColor].target);

	oled.Fill_Circle(OCX,OCY,3,0);
	oled.Draw_Circle(OCX,OCY,1);
	oled.Draw_Circle(OCX,OCY,3,color_half);
}

void TIMESQ_Mode(void)
{
	if(Flag_Refrash)
	{
		Flag_Refrash = False;
		if(Flag_Sleep)
		{
			Flag_Sleep = False;
			SLEEP_Mode();
		}

		DampAutoPos();
		if(Display_Mode == Current_Mode)
		{
			TIME_Mode_Run();
		}
		else
		{
			Mode_Out();
			if(pit[RDRadiusA].match)
			{
				Current_Mode = Display_Mode;
				Mode_In();
			}
		}
		oled.Clear_Screen();
		motion.OLED_AllMotion(Device_Cmd.commandmotion,Device_Cmd.commandspeed);
		TIMESQ_Display();
		oled.Refrash_Screen();
	}
	HAL_Delay(1);
}

void MUSIC_Display()
{
	static u8 Currentstyle = 0;
	int i;
	if(Currentstyle!=Device_Cmd.commandstyle)
	{
		Currentstyle=Device_Cmd.commandstyle;

		for(i=0;i<sizeof(fall_pot);i++)
		{
			fall_pot[i] = 128;
			flow_pot[i] = 128;
		}
	}
//		TIM3->CCR2=4000-Device_Msg.leftvol*4000/(256);
	switch(Device_Cmd.commandstyle)
	{
		case 1:fft.Display_Style1();break;
		case 2:fft.Display_Style2();break;
		case 3:fft.Display_Style3();break;
		case 4:fft.Display_Style4();break;
		case 5:fft.Display_Style5();break;
		case 6:fft.Display_Style6();break;
		default:fft.Display_Style1();break;
	}
}

void MUSIC_Mode(void)
{
	static int OutCount = 25;
	if(Flag_Refrash)
	{
		Flag_Refrash = False;
		if(Flag_Sleep)
		{
			Flag_Sleep = False;
			SLEEP_Mode();
		}

		DampAutoPos();
		if(Display_Mode == Current_Mode)
		{
//			MUSIC_Mode_Run();
		}
		else
		{
			Mode_Out();
			if(OutCount--<=0)
			{
				OutCount = 25;
				Current_Mode = Display_Mode;
				Mode_In();
			}
		}
		oled.Clear_Screen();
		motion.OLED_AllMotion(Device_Cmd.commandmotion,Device_Cmd.commandspeed);
		MUSIC_Display();
		oled.Refrash_Screen();
	}
	HAL_Delay(1);
}

void SLEEP_Mode(void)
{
	u16 i;
	for(i=0;i<300;)
	{
		if(Flag_Refrash)
		{
			Flag_Refrash = False;i++;
			oled.Clear_Screen();
			motion.OLED_AllMotion(Device_Cmd.commandmotion,Device_Cmd.commandspeed);
			oled.Refrash_Screen();
		}
	}
	oled.Clear_Screen();
	Current_Mode = Sleep_Mode;
	UsartCommand(0xA001,3);//获取命令
	UsartCommand(0xA002,3);//获取设备名
	UsartCommand(0xA003,3);//获取硬盘信息
}

void HAL_TIM_PeriodElapsedCallback(TIM_HandleTypeDef *htim)
{
	static u16 SleepCount = 0;
	static u16 ContinueCount = 0;
	static u16 fps = 0;
	static u16 Temp = 0;
	static u16 TimeRun = 0;
	if (htim->Instance == htim8.Instance)
	{
		SK6812_Wheel(0,Temp+=5);
		SK6812_Refrash();
		Flag_Refrash = True;
		if(PulseRun>4020)
			dir = True;
		else if(PulseRun<50)
			dir = False;

		if(dir)
			TIM3->CCR2=(PulseRun-=50);
		else
			TIM3->CCR2=(PulseRun+=50);
	}
	if (htim->Instance == htim6.Instance)
	{
		if(ContinueCount++>20)
		{
			ContinueCount = 0;
			HAL_TIM_Base_Stop_IT(&htim6);
		}
	}
	if (htim->Instance == htim7.Instance)
	{
		if(TimeRun++>40)
		{
			TimeRun = 0;
			DataDisType++;
			pit[DAMPTYP].current = 30;
			if(DataDisType>=8)
				DataDisType=0;
		}
		switch(Device_Cmd.commandrgbmode)
		{
			case 1:oled.Set_Wheelf(fps%96);break;
			case 2:oled.Set_Wheel(fps%96);break;
			case 3:oled.Set_Wheel(Device_Cmd.commandrgbcolor*96/256);break;
			default:oled.Set_Wheel(Device_Cmd.commandrgbcolor*96/256);break;
		}

		if(fps++%2)
		{
//		oled.Set_DampColor(rand()&0xffff);
//			printf("fps:%d\r\n",fps);
			FPS=0;
		}
		if(OfflineCount < 1)
			OfflineCount++;
		else if(OfflineCount == 2)
		{
			ClearFFT();
			OfflineCount++;
		}
		else if(OfflineCount == 8)
		{
			InitData();
			Display_Mode = MODE_OFFLINE;
			OfflineCount++;
//			Display_Mode = MODE_OFFLINE;
//			OfflineCount++;
		}
		else if(OfflineCount <10)
		{
			OfflineCount++;
		}

		if(Uart_Overflow1_Flag)
		{
//			HAL_GPIO_TogglePin(GPIOB, SYS_LED_Pin);
			Uart_Overflow1_Flag = False;
		}
		if(Uart_Overflow3_Flag)
		{
			Uart_Overflow3_Flag = False;
		}
		if(SleepCount++>SLEEPTIME*2)
		{
			if(Device_Cmd.commandset&0x4)
			{
				Flag_Sleep = True;
				Sleep_Mode = Current_Mode;
				SleepCount = 0;
			}
			else
			{
				SleepCount = 0;
			}
		}
		if(SaveFlag && SystemActive)
		{
			SaveFlag = False;
			Tranfcmd();
		}
	}
}

/* USER CODE END 4 */

void Error_Handler(void)
{
}

/************************ (C) COPYRIGHT STMicroelectronics *****END OF FILE****/
